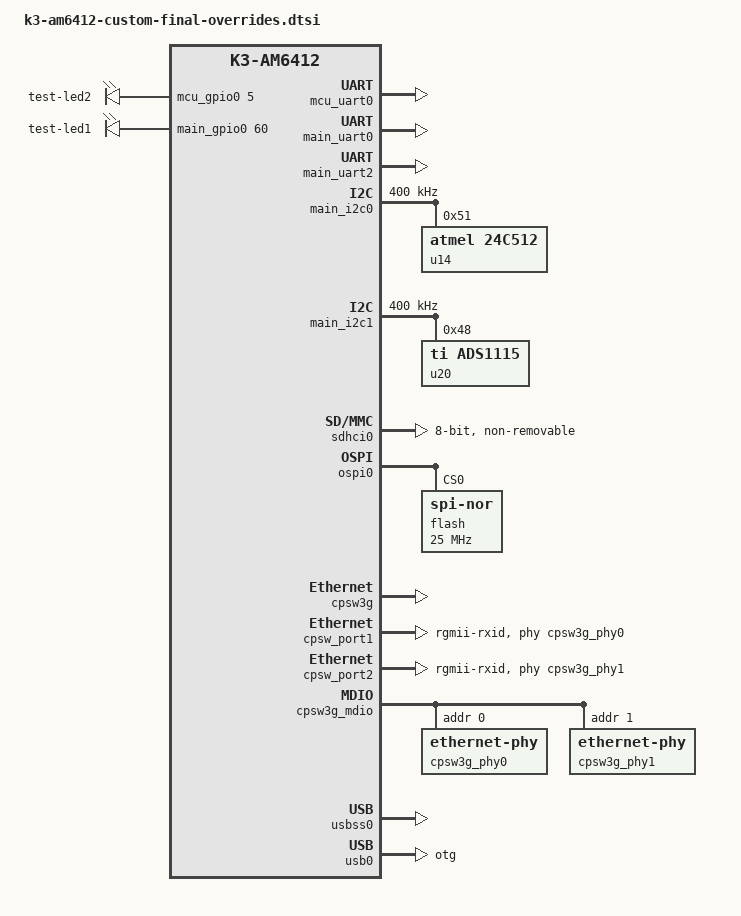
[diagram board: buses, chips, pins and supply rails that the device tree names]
/* Final integration overrides for CPU_BRD_V03_PBA_260511. */
/* Only explicit board decisions are promoted here. */

/ {
	led-controller {
		compatible = "gpio-leds";

		test-led2 {
			gpios = <&mcu_gpio0 5 GPIO_ACTIVE_HIGH>;
			default-state = "off";
		};

		test-led1 {
			gpios = <&main_gpio0 60 GPIO_ACTIVE_HIGH>;
			default-state = "off";
		};
	};
};

&main_pmx0 {
	main_usb0_pins_default: main-usb0-default-pins {
		pinctrl-single,pins = <
			AM64X_IOPAD(0x02a8, PIN_OUTPUT, 0) /* (E19) USB0_DRVVBUS */
		>;
	};

	main_uart2_rx_pins_fixup: main-uart2-rx-pins-fixup {
		pinctrl-single,pins = <
			AM64X_IOPAD(0x0184, PIN_INPUT, 10) /* (W6) PRG0_PRU0_GPO9.UART2_RXD */
		>;
	};

	/* Combined GPMC-FPGA bus pin group from schematic pages 16, 17, and 33. */
	gpmc0_fpga_pins_default: gpmc0-fpga-pins-default {
		pinctrl-single,pins = <
			AM64X_IOPAD(0x003c, PIN_INPUT, 0) /* (T20) GPMC0_AD0 */
			AM64X_IOPAD(0x0040, PIN_INPUT, 0) /* (U21) GPMC0_AD1 */
			AM64X_IOPAD(0x0044, PIN_INPUT, 0) /* (T18) GPMC0_AD2 */
			AM64X_IOPAD(0x0048, PIN_INPUT, 0) /* (U20) GPMC0_AD3 */
			AM64X_IOPAD(0x004c, PIN_INPUT, 0) /* (U18) GPMC0_AD4 */
			AM64X_IOPAD(0x0050, PIN_INPUT, 0) /* (U19) GPMC0_AD5 */
			AM64X_IOPAD(0x0054, PIN_INPUT, 0) /* (V20) GPMC0_AD6 */
			AM64X_IOPAD(0x0058, PIN_INPUT, 0) /* (V21) GPMC0_AD7 */
			AM64X_IOPAD(0x005c, PIN_INPUT, 0) /* (V19) GPMC0_AD8 */
			AM64X_IOPAD(0x0060, PIN_INPUT, 0) /* (T17) GPMC0_AD9 */
			AM64X_IOPAD(0x0064, PIN_INPUT, 0) /* (R16) GPMC0_AD10 */
			AM64X_IOPAD(0x0068, PIN_INPUT, 0) /* (W20) GPMC0_AD11 */
			AM64X_IOPAD(0x006c, PIN_INPUT, 0) /* (W21) GPMC0_AD12 */
			AM64X_IOPAD(0x0070, PIN_INPUT, 0) /* (V18) GPMC0_AD13 */
			AM64X_IOPAD(0x0074, PIN_INPUT, 0) /* (Y21) GPMC0_AD14 */
			AM64X_IOPAD(0x0078, PIN_INPUT, 0) /* (Y20) GPMC0_AD15 */
			AM64X_IOPAD(0x0170, PIN_OUTPUT, 9) /* (AA2) PRG0_PRU0_GPO4.GPMC0_A1 */
			AM64X_IOPAD(0x0180, PIN_OUTPUT, 9) /* (T2) PRG0_PRU0_GPO8.GPMC0_A2 */
			AM64X_IOPAD(0x0198, PIN_OUTPUT, 9) /* (V4) PRG0_PRU0_GPO14.GPMC0_A3 */
			AM64X_IOPAD(0x01a0, PIN_OUTPUT, 9) /* (U4) PRG0_PRU0_GPO16.GPMC0_A4 */
			AM64X_IOPAD(0x01a8, PIN_OUTPUT, 9) /* (V1) PRG0_PRU0_GPO18.GPMC0_A5 */
			AM64X_IOPAD(0x01ac, PIN_OUTPUT, 9) /* (W1) PRG0_PRU0_GPO19.GPMC0_A6 */
			AM64X_IOPAD(0x01e0, PIN_OUTPUT, 9) /* (Y4) PRG0_PRU1_GPO12.GPMC0_A7 */
			AM64X_IOPAD(0x01e4, PIN_OUTPUT, 9) /* (T6) PRG0_PRU1_GPO13.GPMC0_A8 */
			AM64X_IOPAD(0x01e8, PIN_OUTPUT, 9) /* (U6) PRG0_PRU1_GPO14.GPMC0_A9 */
			AM64X_IOPAD(0x01ec, PIN_OUTPUT, 9) /* (U5) PRG0_PRU1_GPO15.GPMC0_A10 */
			AM64X_IOPAD(0x007c, PIN_OUTPUT, 0) /* (R17) GPMC0_CLK */
			AM64X_IOPAD(0x00a8, PIN_OUTPUT, 0) /* (R19) GPMC0_CSn0 */
			AM64X_IOPAD(0x0090, PIN_INPUT, 0) /* (P17) GPMC0_BE0n_CLE */
			AM64X_IOPAD(0x0094, PIN_INPUT, 0) /* (T19) GPMC0_BE1n */
			AM64X_IOPAD(0x0088, PIN_OUTPUT, 0) /* (R18) GPMC0_OEn_REn */
			AM64X_IOPAD(0x008c, PIN_OUTPUT, 0) /* (T21) GPMC0_WEn */
		>;
	};

	mdio1_pins_default: mdio1-default-pins {
		pinctrl-single,pins = <
			AM64X_IOPAD(0x01fc, PIN_OUTPUT, 4) /* (R2) PRG0_PRU1_GPO19.MDIO0_MDC */
			AM64X_IOPAD(0x01f8, PIN_INPUT, 4) /* (P5) PRG0_PRU1_GPO18.MDIO0_MDIO */
		>;
	};

	rgmii1_pins_default: rgmii1-default-pins {
		pinctrl-single,pins = <
			AM64X_IOPAD(0x011c, PIN_INPUT, 4) /* (AA13) PRG1_PRU1_GPO5.RGMII1_RD0 */
			AM64X_IOPAD(0x0128, PIN_INPUT, 4) /* (U12) PRG1_PRU1_GPO8.RGMII1_RD1 */
			AM64X_IOPAD(0x0150, PIN_INPUT, 4) /* (Y13) PRG1_PRU1_GPO18.RGMII1_RD2 */
			AM64X_IOPAD(0x0154, PIN_INPUT, 4) /* (V12) PRG1_PRU1_GPO19.RGMII1_RD3 */
			AM64X_IOPAD(0x00d8, PIN_INPUT, 4) /* (W13) PRG1_PRU0_GPO8.RGMII1_RXC */
			AM64X_IOPAD(0x00cc, PIN_INPUT, 4) /* (V13) PRG1_PRU0_GPO5.RGMII1_RX_CTL */
			AM64X_IOPAD(0x0124, PIN_OUTPUT, 4) /* (V15) PRG1_PRU1_GPO7.RGMII1_TD0 */
			AM64X_IOPAD(0x012c, PIN_OUTPUT, 4) /* (V14) PRG1_PRU1_GPO9.RGMII1_TD1 */
			AM64X_IOPAD(0x0130, PIN_OUTPUT, 4) /* (W14) PRG1_PRU1_GPO10.RGMII1_TD2 */
			AM64X_IOPAD(0x014c, PIN_OUTPUT, 4) /* (AA14) PRG1_PRU1_GPO17.RGMII1_TD3 */
			AM64X_IOPAD(0x00e0, PIN_OUTPUT, 4) /* (U14) PRG1_PRU0_GPO10.RGMII1_TXC */
			AM64X_IOPAD(0x00dc, PIN_OUTPUT, 4) /* (U15) PRG1_PRU0_GPO9.RGMII1_TX_CTL */
		>;
	};

	rgmii2_pins_default: rgmii2-default-pins {
		pinctrl-single,pins = <
			AM64X_IOPAD(0x0108, PIN_INPUT, 4) /* (W11) PRG1_PRU1_GPO0.RGMII2_RD0 */
			AM64X_IOPAD(0x010c, PIN_INPUT, 4) /* (V11) PRG1_PRU1_GPO1.RGMII2_RD1 */
			AM64X_IOPAD(0x0110, PIN_INPUT, 4) /* (AA12) PRG1_PRU1_GPO2.RGMII2_RD2 */
			AM64X_IOPAD(0x0114, PIN_INPUT, 4) /* (Y12) PRG1_PRU1_GPO3.RGMII2_RD3 */
			AM64X_IOPAD(0x0120, PIN_INPUT, 4) /* (U11) PRG1_PRU1_GPO6.RGMII2_RXC */
			AM64X_IOPAD(0x0118, PIN_INPUT, 4) /* (W12) PRG1_PRU1_GPO4.RGMII2_RX_CTL */
			AM64X_IOPAD(0x0134, PIN_OUTPUT, 4) /* (AA10) PRG1_PRU1_GPO11.RGMII2_TD0 */
			AM64X_IOPAD(0x0138, PIN_OUTPUT, 4) /* (V10) PRG1_PRU1_GPO12.RGMII2_TD1 */
			AM64X_IOPAD(0x013c, PIN_OUTPUT, 4) /* (U10) PRG1_PRU1_GPO13.RGMII2_TD2 */
			AM64X_IOPAD(0x0140, PIN_OUTPUT, 4) /* (AA11) PRG1_PRU1_GPO14.RGMII2_TD3 */
			AM64X_IOPAD(0x0148, PIN_OUTPUT, 4) /* (Y10) PRG1_PRU1_GPO16.RGMII2_TXC */
			AM64X_IOPAD(0x0144, PIN_OUTPUT, 4) /* (Y11) PRG1_PRU1_GPO15.RGMII2_TX_CTL */
		>;
	};
};

&main_gpio0 {
	status = "okay";
};

&mcu_gpio0 {
	status = "okay";
};

&mcu_uart0 {
	status = "okay";
	pinctrl-names = "default";
	pinctrl-0 = <&mcu_uart0_pins_default>;
};

&main_uart0 {
	status = "okay";
	pinctrl-names = "default";
	pinctrl-0 = <&main_uart0_pins_default>;
};

&main_uart2 {
	status = "okay";
	pinctrl-names = "default";
	pinctrl-0 = <&main_uart2_pins_default &main_uart2_rx_pins_fixup>;
	/* UART2 final candidate uses K19/UART2_TXD from MMC page and W6/UART2_RXD from PRG/debug netlist evidence. */
};

&main_i2c0 {
	status = "okay";
	pinctrl-names = "default";
	pinctrl-0 = <&main_i2c0_pins_default>;
	clock-frequency = <400000>;

	u14: u14@51 {
		compatible = "atmel,24c512";
		reg = <0x51>;
	};

	/* TODO: add pmic@30 after TPS6522053 Linux binding and regulator constraints are confirmed. */
};

&main_i2c1 {
	status = "okay";
	pinctrl-names = "default";
	pinctrl-0 = <&main_i2c1_pins_default>;
	clock-frequency = <400000>;

	u20: u20@48 {
		compatible = "ti,ads1115";
		reg = <0x48>;
	};

	/* TODO: U15 TPM is intentionally omitted until compatible string and production enable policy are confirmed. */
	/* TODO: U21 PI6ULS5V9509UEX address/role is still unresolved. */
};

&sdhci0 {
	status = "okay";
	bus-width = <8>;
	non-removable;
	/* TODO: add reset, vmmc/vqmmc, and driver-strength properties after power tree review. */
};

&sdhci1 {
	status = "disabled";
	/* Board decision: MMC1 SD 4-bit path is not used. */
};

&ospi0 {
	status = "okay";
	pinctrl-names = "default";
	pinctrl-0 = <&ospi0_pins_default>;

	flash@0 {
		compatible = "jedec,spi-nor";
		reg = <0x0>;
		spi-tx-bus-width = <1>;
		spi-rx-bus-width = <1>;
		spi-max-frequency = <25000000>;
		/* Initial safe profile: keep single SPI fallback until octal/DQS bring-up root cause is resolved. */
		/* TODO: confirm Macronix-specific timing, partitions, reset-gpios, interrupt-gpios, and later octal profile. */
	};
};

&gpmc0 {
	status = "disabled";
	pinctrl-names = "default";
	pinctrl-0 = <&gpmc0_fpga_pins_default>;
	/*
	 * FPGA Bank15 is wired as an async non-multiplexed 16-bit NOR-style bus.
	 * This skeleton intentionally stays disabled until address window, timings,
	 * register map, and Linux-vs-R5F ownership are decided.
	 */
	/* TODO: add ranges once the FPGA address window is fixed. */
	/* TODO: add the FPGA child node once register map and Linux driver model are defined. */
};

&cpsw3g {
	status = "okay";
	pinctrl-names = "default";
	pinctrl-0 = <&rgmii1_pins_default>, <&rgmii2_pins_default>;
};

&cpsw_port1 {
	status = "okay";
	phy-mode = "rgmii-rxid";
	phy-handle = <&cpsw3g_phy0>;
};

&cpsw_port2 {
	status = "okay";
	phy-mode = "rgmii-rxid";
	phy-handle = <&cpsw3g_phy1>;
};

&cpsw3g_mdio {
	status = "okay";
	pinctrl-names = "default";
	pinctrl-0 = <&mdio1_pins_default>;

	cpsw3g_phy0: ethernet-phy@0 {
		reg = <0>;
		ti,rx-internal-delay = <DP83867_RGMIIDCTL_2_00_NS>;
		ti,fifo-depth = <DP83867_PHYCR_FIFO_DEPTH_4_B_NIB>;
		/* TODO: map GPIO_CPSW1_RST and CPSW_RGMII1_INTn once GPIO provider path is finalized. */
	};

	cpsw3g_phy1: ethernet-phy@1 {
		reg = <1>;
		ti,rx-internal-delay = <DP83867_RGMIIDCTL_2_00_NS>;
		ti,fifo-depth = <DP83867_PHYCR_FIFO_DEPTH_4_B_NIB>;
		/* TODO: map GPIO_CPSW2_RST and CPSW_RGMII2_INTn once GPIO provider path is finalized. */
	};
};

&usbss0 {
	status = "okay";
	ti,vbus-divider;
	ti,usb2-only;
};

&usb0 {
	status = "okay";
	dr_mode = "otg";
	maximum-speed = "high-speed";
	pinctrl-names = "default";
	pinctrl-0 = <&main_usb0_pins_default>;
	/* Initial policy: use USB2 OTG only, keep SERDES0/USB3 disabled until product routing policy is fixed. */
};

/* TODO: SERDES0 remains unresolved between PCIe/USB3/FPGA/VITA routing policies. */
